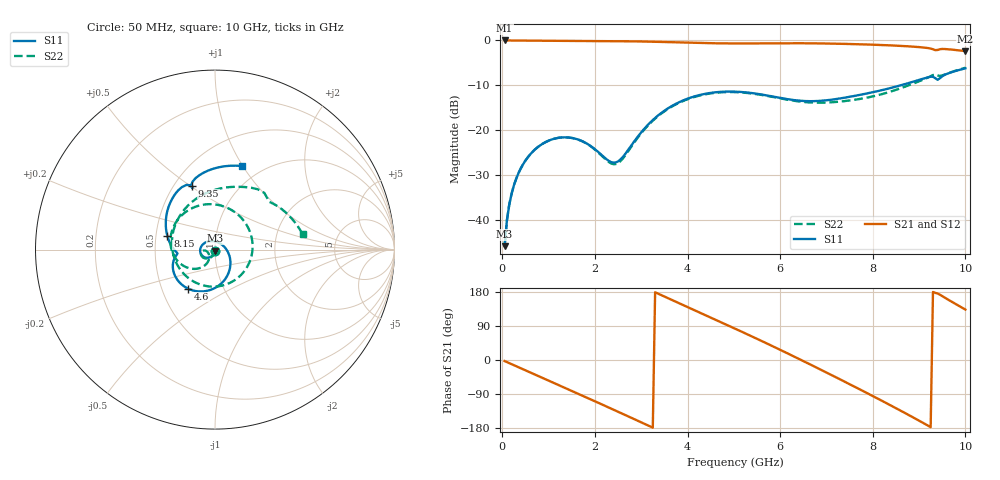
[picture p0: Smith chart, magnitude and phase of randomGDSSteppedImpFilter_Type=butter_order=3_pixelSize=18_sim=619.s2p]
! freq	dB(S11)	phase(S11)	dB(S12)	phase(S12)
!  dB(S21)	phase(S21)	dB(S22)	phase(S22)
!S-par simulation data
#  GHz  S  DB  R 50
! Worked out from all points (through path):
!   200 points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, 50 MHz to 10 GHz, reference 50 ohm
!   highest |S21| = -0.01 dB at 50 MHz (marker M1); lowest = -2.4 dB at 10 GHz (marker M2)
!   group delay of S21, straight-line fit = 161 ps
!   lowest |S11| = -45.8 dB at 50 MHz (marker M3), VSWR 1.01, Z = 50.1 - j0.508 ohm
!   |S11| at or under -10 dB: start of sweep to 8.604 GHz
!   |S22| runs from -45.8 to -6.1 dB; largest |S21 - S12| = 0
!   S11 on the Smith chart (normalised r, x): 50 MHz: 1.00, -0.01; 4.6 GHz: 0.68, -0.32; 8.15 GHz: 0.58, +0.09; 9.35 GHz: 0.61, +0.51; 10 GHz: 0.81, +0.99
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0.05  -45.82 -82.6  -0.01 -2.8  -0.01 -2.8  -45.81 -82.3
0.1  -40.03 -90.8  -0.02 -5.5  -0.02 -5.5  -40.02 -90.2
0.2  -34.17 -99.8  -0.02 -11.0  -0.02 -11.0  -34.16 -98.5
0.55  -26.04 -122.4  -0.05 -30.0  -0.05 -30.0  -26.03 -118.7
1.2  -21.72 -162.2  -0.10 -65.3  -0.10 -65.3  -21.72 -150.7
1.75  -22.55 158.6  -0.13 -95.2  -0.13 -95.2  -22.58 -171.9
2.45  -27.18 57.5  -0.16 -133.8  -0.16 -133.8  -27.54 -147.7
2.95  -21.11 -23.8  -0.23 -161.7  -0.23 -161.7  -21.31 -120.4
3.4  -16.42 -60.3  -0.33 173.1  -0.33 173.1  -16.55 -134.1
3.95  -13.18 -93.0  -0.49 142.4  -0.49 142.4  -13.30 -162.4
4.6  -11.56 -124.5  -0.64 106.4  -0.64 106.4  -11.67 157.6
5.05  -11.42 -142.7  -0.68 81.4  -0.68 81.4  -11.52 126.0
5.5  -11.88 -157.4  -0.67 55.9  -0.67 55.9  -11.98 90.2
5.95  -12.70 -167.5  -0.64 29.9  -0.64 29.9  -12.81 48.8
6.7  -13.53 -174.3  -0.65 -14.8  -0.65 -14.8  -13.85 -32.9
7.5  -12.56 177.8  -0.80 -63.8  -0.80 -63.8  -13.38 -124.6
8.15  -11.19 164.2  -1.01 -104.6  -1.01 -104.6  -12.10 163.5
8.35  -10.69 158.5  -1.09 -117.4  -1.09 -117.4  -11.51 142.3
8.9  -9.11 137.9  -1.41 -153.4  -1.41 -153.4  -9.52 89.3
9.35  -8.41 109.9  -2.16 177.1  -2.16 177.1  -7.56 48.9
9.6  -7.46 101.8  -1.95 161.2  -1.95 161.2  -7.40 34.0
10  -6.22 72.3  -2.38 133.1  -2.38 133.1  -6.10 10.0
